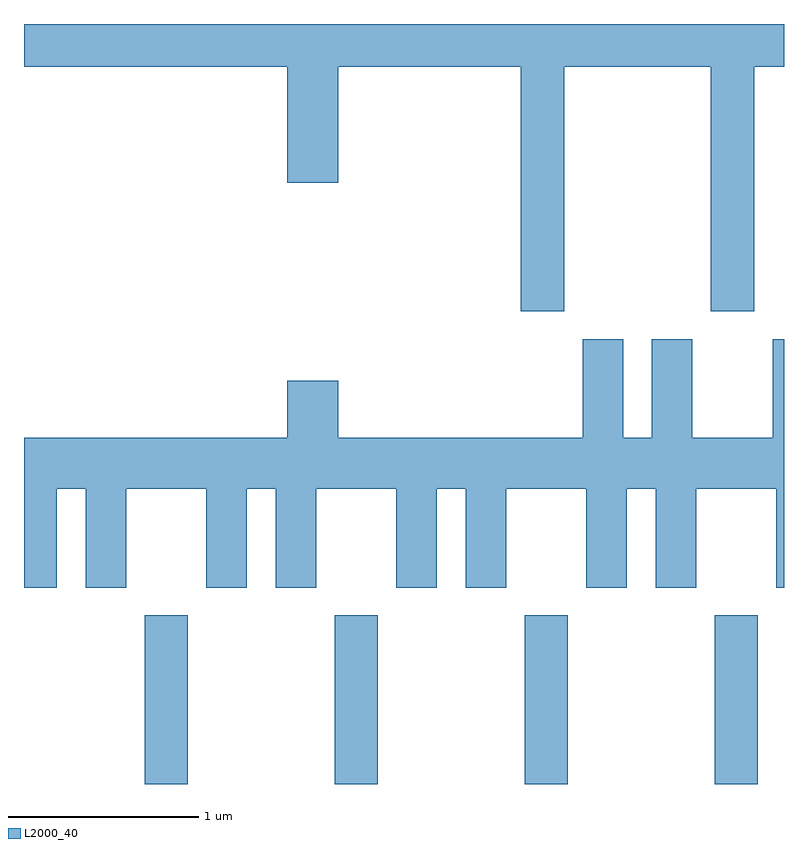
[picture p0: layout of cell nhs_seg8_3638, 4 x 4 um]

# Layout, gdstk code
import gdstk
lib = gdstk.Library(unit=1e-6, precision=1e-09)
def R(c, l, rs):  # rectangles x0, y0, x1, y1
    for r in rs: c.add(gdstk.rectangle(r[:2], r[2:], *l))
def A(c, l, x, y, w, h, nx, ny, dx, dy):  # array of equal rectangles
    R(c, l, [(x+i*dx, y+j*dy, x+i*dx+w, y+j*dy+h) for i in range(nx) for j in range(ny)])
def P(c, l, *ps):  # polygons
    for p in ps: c.add(gdstk.Polygon(p, *l))
L2000_40 = (2000, 40)

nhs_seg8_3638 = lib.new_cell('nhs_seg8_3638')
A(nhs_seg8_3638, L2000_40, 294.246, 1910.342, 0.228, 0.887, 4, 1, 1, 0)
P(nhs_seg8_3638, L2000_40, [(296.454,1914.116),(297.226,1914.116),(297.226,1912.831),(297.454,1912.831),(297.454,1914.116),(297.611,1914.116),(297.611,1914.342),(293.611,1914.342),(293.611,1914.116),(294.996,1914.116),(294.996,1913.506),(295.264,1913.506),(295.264,1914.116),(296.226,1914.116),(296.226,1912.831),(296.454,1912.831)],
  [(293.784,1911.896),(293.936,1911.896),(293.936,1911.376),(294.149,1911.376),(294.149,1911.896),(294.571,1911.896),(294.571,1911.376),(294.784,1911.376),(294.784,1911.896),(294.936,1911.896),(294.936,1911.376),(295.149,1911.376),(295.149,1911.896),(295.571,1911.896),(295.571,1911.376),(295.784,1911.376),(295.784,1911.896),(295.936,1911.896),(295.936,1911.376),(296.149,1911.376),(296.149,1911.896),(296.571,1911.896),(296.571,1911.376),(296.784,1911.376),(296.784,1911.896),(296.936,1911.896),(296.936,1911.376),(297.149,1911.376),(297.149,1911.896),(297.571,1911.896),(297.571,1911.376),(297.611,1911.376),(297.611,1912.684),(297.551,1912.684),(297.551,1912.164),(297.129,1912.164),(297.129,1912.684),(296.916,1912.684),(296.916,1912.164),(296.764,1912.164),(296.764,1912.684),(296.551,1912.684),(296.551,1912.164),(295.264,1912.164),(295.264,1912.464),(294.996,1912.464),(294.996,1912.164),(293.611,1912.164),(293.611,1911.376),(293.784,1911.376)])

lib.write_gds('nhs_seg8_3638.gds')
